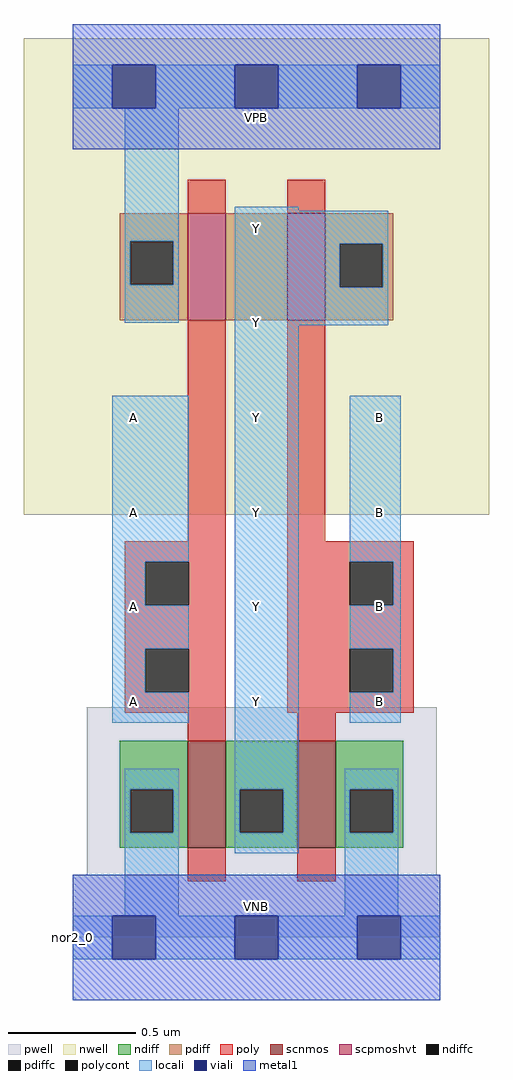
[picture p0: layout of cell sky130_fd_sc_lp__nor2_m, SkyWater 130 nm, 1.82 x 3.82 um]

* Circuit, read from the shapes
.subckt sky130_fd_sc_lp__nor2_m A B VGND VNB VPB VPWR Y
XM1 Y A VGND VNB sky130_fd_pr__nfet_01v8 w=0.42 l=0.15
XM2 VGND B Y VNB sky130_fd_pr__nfet_01v8 w=0.42 l=0.15
XM3 n1 A VPWR VPB sky130_fd_pr__pfet_01v8_hvt w=0.42 l=0.15
XM4 Y B n1 VPB sky130_fd_pr__pfet_01v8_hvt w=0.42 l=0.15
.ends

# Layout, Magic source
magic
tech sky130A
magscale 1 2
<< nwell >>
rect -38 331 326 704
<< pwell >>
rect 11 49 285 180
rect 0 0 288 49
<< scnmos >>
rect 90 70 120 154
rect 176 70 206 154
<< scpmoshvt >>
rect 90 483 120 567
rect 168 483 198 567
<< ndiff >>
rect 37 116 90 154
rect 37 82 45 116
rect 79 82 90 116
rect 37 70 90 82
rect 120 116 176 154
rect 120 82 131 116
rect 165 82 176 116
rect 120 70 176 82
rect 206 116 259 154
rect 206 82 217 116
rect 251 82 259 116
rect 206 70 259 82
<< pdiff >>
rect 37 545 90 567
rect 37 511 45 545
rect 79 511 90 545
rect 37 483 90 511
rect 120 483 168 567
rect 198 543 251 567
rect 198 509 209 543
rect 243 509 251 543
rect 198 483 251 509
<< ndiffc >>
rect 45 82 79 116
rect 131 82 165 116
rect 217 82 251 116
<< pdiffc >>
rect 45 511 79 545
rect 209 509 243 543
<< poly >>
rect 90 567 120 593
rect 168 567 198 593
rect 90 310 120 483
rect 41 294 120 310
rect 41 260 57 294
rect 91 260 120 294
rect 41 226 120 260
rect 41 192 57 226
rect 91 192 120 226
rect 41 176 120 192
rect 168 310 198 483
rect 168 294 267 310
rect 168 260 217 294
rect 251 260 267 294
rect 168 226 267 260
rect 168 192 217 226
rect 251 192 267 226
rect 168 176 267 192
rect 90 154 120 176
rect 176 154 206 176
rect 90 44 120 70
rect 176 44 206 70
<< polycont >>
rect 57 260 91 294
rect 57 192 91 226
rect 217 260 251 294
rect 217 192 251 226
<< locali >>
rect 0 649 31 683
rect 65 649 127 683
rect 161 649 223 683
rect 257 649 288 683
rect 41 545 83 649
rect 41 511 45 545
rect 79 511 83 545
rect 41 481 83 511
rect 127 569 177 572
rect 127 543 247 569
rect 127 509 209 543
rect 243 509 247 543
rect 127 479 247 509
rect 31 294 91 424
rect 31 260 57 294
rect 31 226 91 260
rect 31 192 57 226
rect 31 168 91 192
rect 41 116 83 132
rect 41 82 45 116
rect 79 82 83 116
rect 41 17 83 82
rect 127 116 177 479
rect 217 294 257 424
rect 251 260 257 294
rect 217 226 257 260
rect 251 192 257 226
rect 217 168 257 192
rect 127 82 131 116
rect 165 82 177 116
rect 127 66 177 82
rect 213 116 255 132
rect 213 82 217 116
rect 251 82 255 116
rect 213 17 255 82
rect 0 -17 31 17
rect 65 -17 127 17
rect 161 -17 223 17
rect 257 -17 288 17
<< viali >>
rect 31 649 65 683
rect 127 649 161 683
rect 223 649 257 683
rect 31 -17 65 17
rect 127 -17 161 17
rect 223 -17 257 17
<< metal1 >>
rect 0 683 288 715
rect 0 649 31 683
rect 65 649 127 683
rect 161 649 223 683
rect 257 649 288 683
rect 0 617 288 649
rect 0 17 288 49
rect 0 -17 31 17
rect 65 -17 127 17
rect 161 -17 223 17
rect 257 -17 288 17
rect 0 -49 288 -17
<< labels >>
flabel pwell s 0 0 288 49 0 FreeSans 200 0 0 0 VNB
port 4 nsew ground bidirectional
flabel nwell s 0 617 288 666 0 FreeSans 200 0 0 0 VPB
port 5 nsew power bidirectional
rlabel comment s 0 0 0 0 4 nor2_0
flabel metal1 s 0 617 288 666 0 FreeSans 340 0 0 0 VPWR
port 6 nsew power bidirectional
flabel metal1 s 0 0 288 49 0 FreeSans 340 0 0 0 VGND
port 3 nsew ground bidirectional
flabel locali s 31 168 65 202 0 FreeSans 340 0 0 0 A
port 1 nsew signal input
flabel locali s 31 242 65 276 0 FreeSans 340 0 0 0 A
port 1 nsew signal input
flabel locali s 31 316 65 350 0 FreeSans 340 0 0 0 A
port 1 nsew signal input
flabel locali s 31 390 65 424 0 FreeSans 340 0 0 0 A
port 1 nsew signal input
flabel locali s 127 168 161 202 0 FreeSans 340 0 0 0 Y
port 7 nsew signal output
flabel locali s 127 242 161 276 0 FreeSans 340 0 0 0 Y
port 7 nsew signal output
flabel locali s 127 316 161 350 0 FreeSans 340 0 0 0 Y
port 7 nsew signal output
flabel locali s 127 390 161 424 0 FreeSans 340 0 0 0 Y
port 7 nsew signal output
flabel locali s 127 464 161 498 0 FreeSans 340 0 0 0 Y
port 7 nsew signal output
flabel locali s 127 538 161 572 0 FreeSans 340 0 0 0 Y
port 7 nsew signal output
flabel locali s 223 168 257 202 0 FreeSans 340 0 0 0 B
port 2 nsew signal input
flabel locali s 223 242 257 276 0 FreeSans 340 0 0 0 B
port 2 nsew signal input
flabel locali s 223 316 257 350 0 FreeSans 340 0 0 0 B
port 2 nsew signal input
flabel locali s 223 390 257 424 0 FreeSans 340 0 0 0 B
port 2 nsew signal input
<< properties >>
string LEFsite unit
string LEFclass CORE
string FIXED_BBOX 0 0 288 666
string GDS_FILE $PDKPATH/libs.ref/sky130_fd_sc_lp/gds/sky130_fd_sc_lp.gds
string LEFsymmetry X Y R90
string GDS_END 5306700
string GDS_START 5302028
<< end >>
